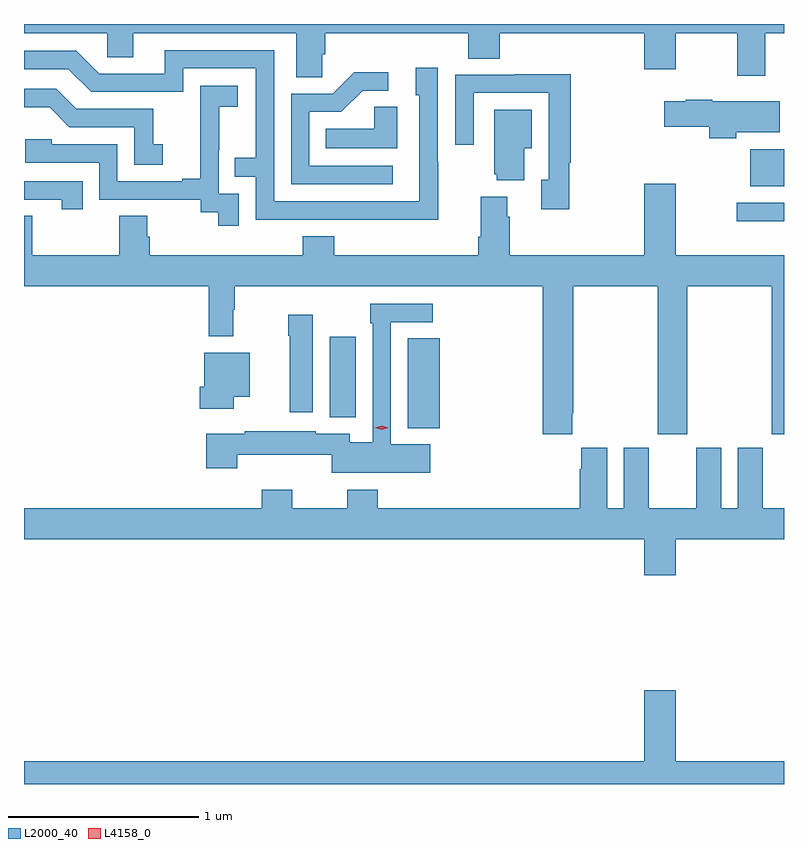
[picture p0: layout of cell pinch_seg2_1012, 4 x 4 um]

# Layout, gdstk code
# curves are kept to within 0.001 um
import gdstk
lib = gdstk.Library(unit=1e-6, precision=1e-09)
def R(c, l, rs):  # rectangles x0, y0, x1, y1
    for r in rs: c.add(gdstk.rectangle(r[:2], r[2:], *l))
def P(c, l, *ps):  # polygons
    for p in ps: c.add(gdstk.Polygon(p, *l))
L2000_40 = (2000, 40)
L4158_0 = (4158, 0)

pinch_seg2_1012 = lib.new_cell('pinch_seg2_1012')
R(pinch_seg2_1012, L2000_40, [(307.619,598.937,307.786,599.411), (307.208,598.994,307.345,599.419), (309.351,600.026,309.599,600.123), (309.422,600.212,309.599,600.406)])
P(pinch_seg2_1012, L2000_40, [(307.17,600.907),(307.184,600.907),(307.184,601.016),(307.937,601.016),(307.937,600.883),(308.102,600.883),(308.102,601.016),(308.864,601.016),(308.864,600.828),(309.028,600.828),(309.028,601.016),(309.352,601.016),(309.352,600.792),(309.499,600.792),(309.499,601.016),(309.599,601.016),(309.599,601.065),(305.599,601.065),(305.599,601.016),(306.036,601.016),(306.036,600.889),(306.175,600.889),(306.175,601.016),(307.031,601.016),(307.031,600.784),(307.17,600.784)],
  [(307.779,600.341),(307.776,600.341),(307.776,600.835),(307.661,600.835),(307.661,600.69),(307.68,600.69),(307.68,600.132),(306.915,600.132),(306.915,600.927),(306.341,600.927),(306.341,600.804),(305.994,600.804),(305.874,600.924),(305.599,600.924),(305.599,600.828),(305.832,600.828),(305.952,600.708),(306.438,600.708),(306.438,600.831),(306.819,600.831),(306.819,600.362),(306.709,600.362),(306.709,600.261),(306.819,600.261),(306.819,600.036),(307.779,600.035)],
  [(307.54,600.318),(307.101,600.318),(307.101,600.603),(307.27,600.603),(307.381,600.714),(307.516,600.714),(307.516,600.812),(307.337,600.812),(307.224,600.699),(307.005,600.699),(307.005,600.222),(307.54,600.222)],
  [(308.47,600.334),(308.477,600.334),(308.477,600.8),(308.185,600.8),(308.185,600.798),(307.869,600.798),(307.869,600.429),(307.965,600.429),(307.965,600.702),(308.361,600.702),(308.361,600.246),(308.321,600.246),(308.321,600.09),(308.47,600.09)],
  [(306.729,600.171),(306.624,600.171),(306.624,600.401),(306.626,600.401),(306.626,600.629),(306.724,600.629),(306.724,600.739),(306.526,600.739),(306.526,600.533),(306.527,600.533),(306.527,600.25),(306.431,600.25),(306.431,600.237),(306.09,600.237),(306.09,600.432),(305.745,600.432),(305.745,600.459),(305.605,600.459),(305.605,600.336),(305.994,600.336),(305.994,600.141),(306.528,600.141),(306.528,600.073),(306.621,600.073),(306.621,600.003),(306.729,600.003)],
  [(306.328,600.433),(306.279,600.433),(306.279,600.618),(305.875,600.618),(305.77,600.723),(305.599,600.723),(305.599,600.626),(305.734,600.626),(305.838,600.522),(306.18,600.522),(306.18,600.324),(306.328,600.324)],
  [(309.348,600.494),(309.577,600.494),(309.577,600.658),(309.222,600.658),(309.222,600.666),(309.082,600.666),(309.082,600.658),(308.97,600.658),(308.97,600.524),(309.206,600.524),(309.206,600.464),(309.348,600.464)],
  [(307.564,600.629),(307.443,600.629),(307.443,600.514),(307.186,600.514),(307.186,600.41),(307.564,600.41)],
  [(308.233,600.41),(308.272,600.41),(308.272,600.613),(308.075,600.613),(308.075,600.273),(308.087,600.273),(308.087,600.242),(308.233,600.242)],
  [(305.909,600.237),(305.599,600.237),(305.599,600.141),(305.798,600.141),(305.798,600.09),(305.909,600.09)],
  [(308.485,599.017),(308.49,599.017),(308.49,599.684),(308.935,599.684),(308.935,598.905),(309.09,598.905),(309.09,599.684),(309.535,599.684),(309.535,598.905),(309.599,598.905),(309.599,599.848),(309.028,599.848),(309.028,600.223),(308.864,600.223),(308.864,599.848),(308.156,599.848),(308.156,600.05),(308.143,600.05),(308.143,600.157),(308.003,600.157),(308.003,599.944),(307.991,599.944),(307.991,599.848),(307.232,599.848),(307.232,599.947),(307.067,599.947),(307.067,599.848),(306.26,599.848),(306.26,599.946),(306.247,599.946),(306.247,600.056),(306.1,600.056),(306.1,599.848),(305.643,599.848),(305.643,600.056),(305.599,600.056),(305.599,599.684),(306.571,599.684),(306.571,599.421),(306.7,599.421),(306.7,599.561),(306.707,599.561),(306.707,599.684),(308.33,599.684),(308.33,598.905),(308.485,598.905)],
  [(307.738,598.852),(307.53,598.852),(307.53,599.496),(307.75,599.496),(307.75,599.592),(307.422,599.592),(307.422,599.489),(307.434,599.489),(307.434,598.864),(307.314,598.864),(307.314,598.909),(307.134,598.909),(307.134,598.921),(306.762,598.921),(306.762,598.909),(306.557,598.909),(306.557,598.728),(306.722,598.728),(306.722,598.799),(307.218,598.799),(307.218,598.703),(307.738,598.703)],
  [(307.12,599.536),(306.991,599.536),(306.991,599.423),(306.998,599.423),(306.998,599.022),(307.12,599.022)],
  [(306.702,599.102),(306.787,599.102),(306.787,599.335),(306.548,599.335),(306.548,599.157),(306.524,599.157),(306.524,599.039),(306.702,599.039)],
  [(309.028,598.352),(309.599,598.352),(309.599,598.516),(309.487,598.516),(309.487,598.834),(309.356,598.834),(309.356,598.516),(309.268,598.516),(309.268,598.834),(309.137,598.834),(309.137,598.516),(308.887,598.516),(308.887,598.834),(308.756,598.834),(308.756,598.516),(308.668,598.516),(308.668,598.834),(308.531,598.834),(308.531,598.721),(308.525,598.721),(308.525,598.516),(307.46,598.516),(307.46,598.615),(307.3,598.615),(307.3,598.516),(307.011,598.516),(307.011,598.615),(306.851,598.615),(306.851,598.516),(305.599,598.516),(305.599,598.352),(308.864,598.352),(308.864,598.164),(309.028,598.164)],
  [(309.599,597.184),(309.028,597.184),(309.028,597.559),(308.864,597.559),(308.864,597.184),(305.599,597.184),(305.599,597.065),(309.599,597.065)])
P(pinch_seg2_1012, L4158_0, [(307.481,598.93),(307.446,598.941),(307.446,598.941),(307.446,598.941),(307.481,598.95),(307.516,598.94),(307.516,598.94),(307.516,598.94)])

lib.write_gds('pinch_seg2_1012.gds')
